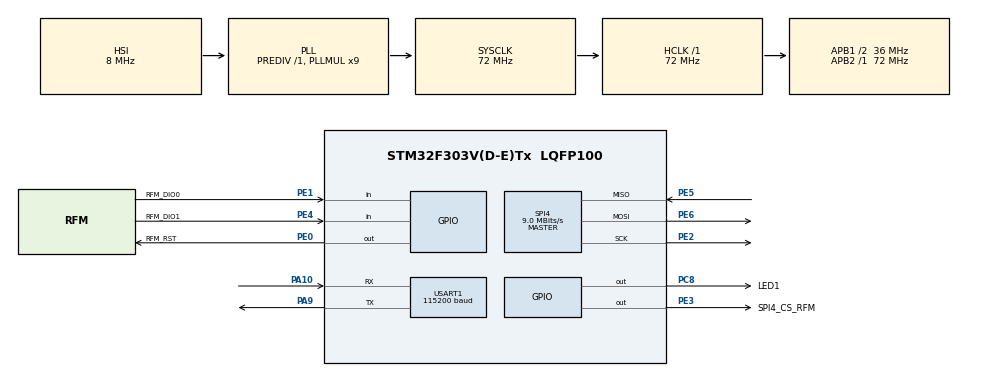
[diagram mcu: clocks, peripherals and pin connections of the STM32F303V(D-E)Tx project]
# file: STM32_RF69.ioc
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Mcu.Family=STM32F3
Mcu.Name=STM32F303V(D-E)Tx
Mcu.Package=LQFP100
NVIC.PriorityGroup=NVIC_PRIORITYGROUP_4
PA10.Mode=Asynchronous
PA10.Signal=USART1_RX
PA9.Mode=Asynchronous
PA9.Signal=USART1_TX
PC8.GPIO_Label=LED1
PC8.Signal=GPIO_Output
PE0.GPIO_Label=RFM_RST
PE0.Signal=GPIO_Output
PE1.GPIO_Label=RFM_DIO0
PE1.Signal=GPIO_Input
PE2.GPIO_PuPd=GPIO_PULLDOWN
PE2.Mode=Full_Duplex_Master
PE2.Signal=SPI4_SCK
PE3.GPIO_Label=SPI4_CS_RFM
PE3.Signal=GPIO_Output
PE4.GPIO_Label=RFM_DIO1
PE4.Signal=GPIO_Input
PE5.GPIO_PuPd=GPIO_PULLDOWN
PE5.Mode=Full_Duplex_Master
PE5.Signal=SPI4_MISO
PE6.GPIO_PuPd=GPIO_PULLDOWN
PE6.Mode=Full_Duplex_Master
PE6.Signal=SPI4_MOSI
ProjectManager.HeapSize=0x200
ProjectManager.StackSize=0x400
ProjectManager.TargetToolchain=Makefile
RCC.AHBFreq_Value=72000000
RCC.APB1CLKDivider=RCC_HCLK_DIV2
RCC.APB1Freq_Value=36000000
RCC.APB1TimFreq_Value=72000000
RCC.APB2Freq_Value=72000000
RCC.APB2TimFreq_Value=72000000
RCC.CortexFreq_Value=72000000
RCC.HCLKFreq_Value=72000000
RCC.HSE_VALUE=8000000
RCC.HSI_VALUE=8000000
RCC.LSE_VALUE=32768
RCC.PLLMUL=RCC_PLL_MUL9
RCC.SYSCLKFreq_VALUE=72000000
RCC.SYSCLKSourceVirtual=RCC_SYSCLKSOURCE_PLLCLK
RCC.USBFreq_Value=72000000
SPI4.BaudRatePrescaler=SPI_BAUDRATEPRESCALER_8
SPI4.CalculateBaudRate=9.0 MBits/s
SPI4.DataSize=SPI_DATASIZE_8BIT
SPI4.Direction=SPI_DIRECTION_2LINES
SPI4.Mode=SPI_MODE_MASTER
SPI4.VirtualType=VM_MASTER
USART1.BaudRate=115200
USART1.VirtualMode-Asynchronous=VM_ASYNC
board=custom

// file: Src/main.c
/**
  ******************************************************************************
  * @file           : main.c
  * @brief          : Main program body
  ******************************************************************************
  ** This notice applies to any and all portions of this file
  * that are not between comment pairs USER CODE BEGIN and
  * USER CODE END. Other portions of this file, whether
  * inserted by the user or by software development tools
  * are owned by their respective copyright owners.
  *
  * COPYRIGHT(c) 2021 STMicroelectronics
  *
  * Redistribution and use in source and binary forms, with or without modification,
  * are permitted provided that the following conditions are met:
  *   1. Redistributions of source code must retain the above copyright notice,
  *      this list of conditions and the following disclaimer.
  *   2. Redistributions in binary form must reproduce the above copyright notice,
  *      this list of conditions and the following disclaimer in the documentation
  *      and/or other materials provided with the distribution.
  *   3. Neither the name of STMicroelectronics nor the names of its contributors
  *      may be used to endorse or promote products derived from this software
  *      without specific prior written permission.
  *
  * THIS SOFTWARE IS PROVIDED BY THE COPYRIGHT HOLDERS AND CONTRIBUTORS "AS IS"
  * AND ANY EXPRESS OR IMPLIED WARRANTIES, INCLUDING, BUT NOT LIMITED TO, THE
  * IMPLIED WARRANTIES OF MERCHANTABILITY AND FITNESS FOR A PARTICULAR PURPOSE ARE
  * DISCLAIMED. IN NO EVENT SHALL THE COPYRIGHT HOLDER OR CONTRIBUTORS BE LIABLE
  * FOR ANY DIRECT, INDIRECT, INCIDENTAL, SPECIAL, EXEMPLARY, OR CONSEQUENTIAL
  * DAMAGES (INCLUDING, BUT NOT LIMITED TO, PROCUREMENT OF SUBSTITUTE GOODS OR
  * SERVICES; LOSS OF USE, DATA, OR PROFITS; OR BUSINESS INTERRUPTION) HOWEVER
  * CAUSED AND ON ANY THEORY OF LIABILITY, WHETHER IN CONTRACT, STRICT LIABILITY,
  * OR TORT (INCLUDING NEGLIGENCE OR OTHERWISE) ARISING IN ANY WAY OUT OF THE USE
  * OF THIS SOFTWARE, EVEN IF ADVISED OF THE POSSIBILITY OF SUCH DAMAGE.
  *
  ******************************************************************************
  */
#include "main.h"
#include "stm32f3xx_hal.h"
#include "spi.h"
#include "usart.h"
#include "gpio.h"
#include "rf69.h"

/* USER CODE BEGIN PV */
/* Private variables ---------------------------------------------------------*/
uint8_t nativeMsg[66];                                                    // 'Native' format message buffer
char str[12];
/* USER CODE END PV */

void SystemClock_Config(void);

/* USER CODE BEGIN PFP */
/* Private function prototypes -----------------------------------------------*/

/* USER CODE END PFP */

int main(void)
{

  /* MCU Configuration----------------------------------------------------------*/

  /* Reset of all peripherals, Initializes the Flash interface and the Systick. */
  HAL_Init();

  /* Configure the system clock */
  SystemClock_Config();

  /* Initialize all configured peripherals */
  MX_GPIO_Init();
  MX_SPI4_Init();
  MX_USART1_UART_Init();
  /* USER CODE BEGIN 2 */
  debug_printf("UART TEST!\r\n");

  RF69_init(5,210,434);

  debug_printf("RFM INIT!\r\n");
  /* USER CODE END 2 */

  /* Infinite loop */
  /* USER CODE BEGIN WHILE */
  while (1)
  {
    int8_t n = RF69_receive(&nativeMsg, sizeof(nativeMsg));                   // Poll the RFM buffer and extract the data
    if (n > 1)
    {
      HAL_GPIO_WritePin(LED1_GPIO_Port, LED1_Pin, 1);

      // OK and Node ID
      debug_printf("OK ");

      sprintf(str,"%d",nativeMsg[1] & 0x3F);
      debug_printf(str);

      // Data
      for (uint8_t i = 2; i < n; ++i) {
        sprintf(str," %d",nativeMsg[i]);
        debug_printf(str);
      }

      // RSSI value after packet data
      sprintf(str," (%d)\r\n",-(rssi>>1));
      debug_printf(str);

      HAL_GPIO_WritePin(LED1_GPIO_Port, LED1_Pin, 0);
    }
  /* USER CODE END WHILE */

  }

}

void SystemClock_Config(void)
{

  RCC_OscInitTypeDef RCC_OscInitStruct;
  RCC_ClkInitTypeDef RCC_ClkInitStruct;
  RCC_PeriphCLKInitTypeDef PeriphClkInit;

    /**Initializes the CPU, AHB and APB busses clocks
    */
  RCC_OscInitStruct.OscillatorType = RCC_OSCILLATORTYPE_HSI;
  RCC_OscInitStruct.HSIState = RCC_HSI_ON;
  RCC_OscInitStruct.HSICalibrationValue = 16;
  RCC_OscInitStruct.PLL.PLLState = RCC_PLL_ON;
  RCC_OscInitStruct.PLL.PLLSource = RCC_PLLSOURCE_HSI;
  RCC_OscInitStruct.PLL.PLLMUL = RCC_PLL_MUL9;
  RCC_OscInitStruct.PLL.PREDIV = RCC_PREDIV_DIV1;
  if (HAL_RCC_OscConfig(&RCC_OscInitStruct) != HAL_OK)
  {
    _Error_Handler(__FILE__, __LINE__);
  }

    /**Initializes the CPU, AHB and APB busses clocks
    */
  RCC_ClkInitStruct.ClockType = RCC_CLOCKTYPE_HCLK|RCC_CLOCKTYPE_SYSCLK
                              |RCC_CLOCKTYPE_PCLK1|RCC_CLOCKTYPE_PCLK2;
  RCC_ClkInitStruct.SYSCLKSource = RCC_SYSCLKSOURCE_PLLCLK;
  RCC_ClkInitStruct.AHBCLKDivider = RCC_SYSCLK_DIV1;
  RCC_ClkInitStruct.APB1CLKDivider = RCC_HCLK_DIV2;
  RCC_ClkInitStruct.APB2CLKDivider = RCC_HCLK_DIV1;

  if (HAL_RCC_ClockConfig(&RCC_ClkInitStruct, FLASH_LATENCY_2) != HAL_OK)
  {
    _Error_Handler(__FILE__, __LINE__);
  }

  PeriphClkInit.PeriphClockSelection = RCC_PERIPHCLK_USART1;
  PeriphClkInit.Usart1ClockSelection = RCC_USART1CLKSOURCE_PCLK2;
  if (HAL_RCCEx_PeriphCLKConfig(&PeriphClkInit) != HAL_OK)
  {
    _Error_Handler(__FILE__, __LINE__);
  }

    /**Configure the Systick interrupt time
    */
  HAL_SYSTICK_Config(HAL_RCC_GetHCLKFreq()/1000);

    /**Configure the Systick
    */
  HAL_SYSTICK_CLKSourceConfig(SYSTICK_CLKSOURCE_HCLK);

  /* SysTick_IRQn interrupt configuration */
  HAL_NVIC_SetPriority(SysTick_IRQn, 0, 0);
}

void _Error_Handler(char *file, int line)
{
  while(1)
  {
  }
}

/************************ (C) COPYRIGHT STMicroelectronics *****END OF FILE****/
